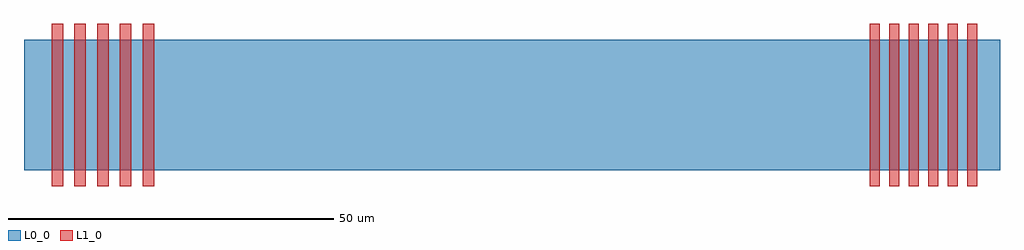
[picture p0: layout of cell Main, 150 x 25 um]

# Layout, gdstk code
from math import pi, radians
import gdstk
lib = gdstk.Library(unit=1e-6, precision=1e-09)
def R(c, l, rs):  # rectangles x0, y0, x1, y1
    for r in rs: c.add(gdstk.rectangle(r[:2], r[2:], *l))
def A(c, l, x, y, w, h, nx, ny, dx, dy):  # array of equal rectangles
    R(c, l, [(x+i*dx, y+j*dy, x+i*dx+w, y+j*dy+h) for i in range(nx) for j in range(ny)])
L0_0 = (0, 0)
L1_0 = (1, 0)

grating_1 = lib.new_cell('Grating 1')
A(grating_1, L1_0, -12.5, 0, 25, 1.75, 1, 5, 0, 3.5)

grating_2 = lib.new_cell('Grating 2')
A(grating_2, L1_0, -12.5, 0, 25, 1.5, 1, 6, 0, 3)

main = lib.new_cell('Main')
R(main, L0_0, [(0,-10,150,10)])
main.add(gdstk.Reference(grating_1, (20,0), rotation=pi/2))
main.add(gdstk.Reference(grating_2, (130,0), rotation=3*pi/2))

lib.write_gds('Main.gds')
